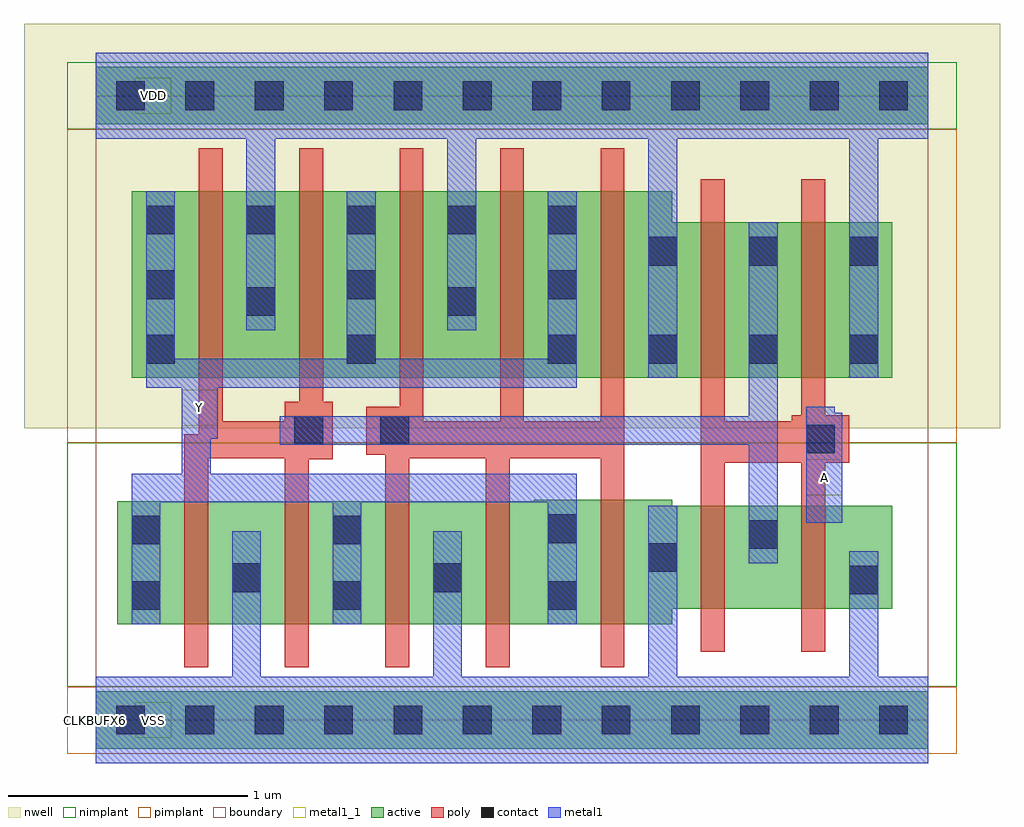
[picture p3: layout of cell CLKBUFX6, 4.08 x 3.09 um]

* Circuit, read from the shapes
.subckt CLKBUFX6 A VDD VSS Y
M1 VSS n1 Y VSS nfet w=0.515u l=0.1u m=4
M2 VSS n1 Y VSS nfet w=0.52u l=0.1u
M3 n1 A VSS VSS nfet w=0.43u l=0.1u m=2
M4 VDD n1 Y VDD pfet w=0.78u l=0.1u m=5
M5 n1 A VDD VDD pfet w=0.65u l=0.1u m=2
.ends

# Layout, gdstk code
import gdstk
lib = gdstk.Library(unit=1e-6, precision=5e-10)
def R(c, l, rs):  # rectangles x0, y0, x1, y1
    for r in rs: c.add(gdstk.rectangle(r[:2], r[2:], *l))
def A(c, l, x, y, w, h, nx, ny, dx, dy):  # array of equal rectangles
    R(c, l, [(x+i*dx, y+j*dy, x+i*dx+w, y+j*dy+h) for i in range(nx) for j in range(ny)])
active = (1, 0)
nwell = (2, 0)
poly = (3, 0)
nimplant = (4, 0)
pimplant = (5, 0)
contact = (6, 0)
metal1 = (7, 0)
metal1_1 = (7, 1)
boundary = (62, 0)

clkbufx6 = lib.new_cell('CLKBUFX6')
R(clkbufx6, active, [(0,-0.12,3.48,0.12), (0.09,0.4,2.41,0.465), (0.09,0.465,3.33,0.895), (0.09,0.895,2.41,0.915), (1.83,0.915,2.41,0.92), (0.15,1.43,3.33,2.08), (0.15,2.08,2.41,2.21), (0,2.49,3.48,2.73)])
R(clkbufx6, nwell, [(-0.3,1.22,3.78,2.91)])
R(clkbufx6, poly, [(0.37,0.22,0.47,1.095), (0.79,0.22,0.89,1.09), (1.21,0.22,1.31,1.095), (1.63,0.22,1.73,1.095), (2.11,0.22,2.21,1.095), (2.53,0.285,2.63,1.075), (2.95,0.285,3.05,1.075), (2.53,1.075,3.15,1.25), (0.79,1.09,0.99,1.095), (0.37,1.095,0.99,1.195), (1.21,1.095,2.21,1.11), (1.13,1.11,2.21,1.25), (0.43,1.195,0.99,1.25), (0.43,1.25,0.53,2.39), (0.79,1.25,0.99,1.33), (1.13,1.25,1.37,1.31), (1.69,1.25,1.79,2.39), (2.11,1.25,2.21,2.39), (2.53,1.25,2.63,2.26), (2.91,1.25,3.15,1.275), (2.95,1.275,3.05,2.26), (1.27,1.31,1.37,2.39), (0.85,1.33,0.95,2.39)])
R(clkbufx6, nimplant, [(-0.12,0.14,3.6,1.16), (-0.12,2.47,3.6,2.75)])
R(clkbufx6, pimplant, [(-0.12,-0.14,3.6,0.14), (-0.12,1.16,3.6,2.47)])
A(clkbufx6, contact, 0.085, -0.06, 0.12, 0.12, 12, 2, 0.29, 2.61)
A(clkbufx6, contact, 0.21, 1.49, 0.12, 0.12, 3, 2, 0.84, 0.27)
A(clkbufx6, contact, 2.31, 1.49, 0.12, 0.12, 3, 2, 0.42, 0.41)
A(clkbufx6, contact, 0.21, 2.03, 0.12, 0.12, 5, 1, 0.42, 0)
R(clkbufx6, contact, [(0.15,0.46,0.27,0.58), (0.99,0.46,1.11,0.58), (1.89,0.46,2.01,0.58), (3.15,0.525,3.27,0.645), (0.57,0.535,0.69,0.655), (1.41,0.535,1.53,0.655), (2.31,0.62,2.43,0.74), (2.73,0.715,2.85,0.835), (0.15,0.735,0.27,0.855), (0.99,0.735,1.11,0.855), (1.89,0.74,2.01,0.86), (2.97,1.115,3.09,1.235), (0.83,1.15,0.95,1.27), (1.19,1.15,1.31,1.27), (0.63,1.69,0.75,1.81), (1.47,1.69,1.59,1.81)])
A(clkbufx6, metal1, 0.21, 1.51, 0.12, 0.7, 3, 1, 0.84, 0)
R(clkbufx6, metal1, [(0,-0.18,3.48,0.18), (0.57,0.18,0.69,0.79), (1.41,0.18,1.53,0.79), (2.31,0.18,2.43,0.895), (3.15,0.18,3.27,0.705), (0.15,0.4,0.27,0.91), (0.99,0.4,1.11,0.91), (1.89,0.4,2.01,0.91), (2.73,0.655,2.85,1.15), (2.97,0.825,3.12,1.285), (0.15,0.91,2.01,1.03), (0.36,1.03,0.48,1.175), (0.77,1.15,2.85,1.27), (0.36,1.175,0.51,1.39), (2.73,1.27,2.85,2.08), (2.97,1.285,3.09,1.31), (0.21,1.39,2.01,1.51), (2.31,1.43,2.43,2.43), (3.15,1.43,3.27,2.43), (0.63,1.63,0.75,2.43), (1.47,1.63,1.59,2.43), (0,2.43,3.48,2.79)])
R(clkbufx6, metal1_1, [(0.165,-0.075,0.315,0.075), (2.97,0.94,3.12,1.09), (0.36,1.23,0.51,1.38), (0.165,2.535,0.315,2.685)])
R(clkbufx6, boundary, [(0,0,3.48,2.61)])
clkbufx6.add(gdstk.Label('CLKBUFX6', (0,0), layer=63, texttype=0))
clkbufx6.add(gdstk.Label('Y', (0.435,1.305), layer=7, texttype=3))
clkbufx6.add(gdstk.Label('A', (3.045,1.015), layer=7, texttype=3))
clkbufx6.add(gdstk.Label('VDD', (0.24,2.61), layer=7, texttype=3))
clkbufx6.add(gdstk.Label('VSS', (0.24,0), layer=7, texttype=3))

lib.write_gds('CLKBUFX6.gds')
